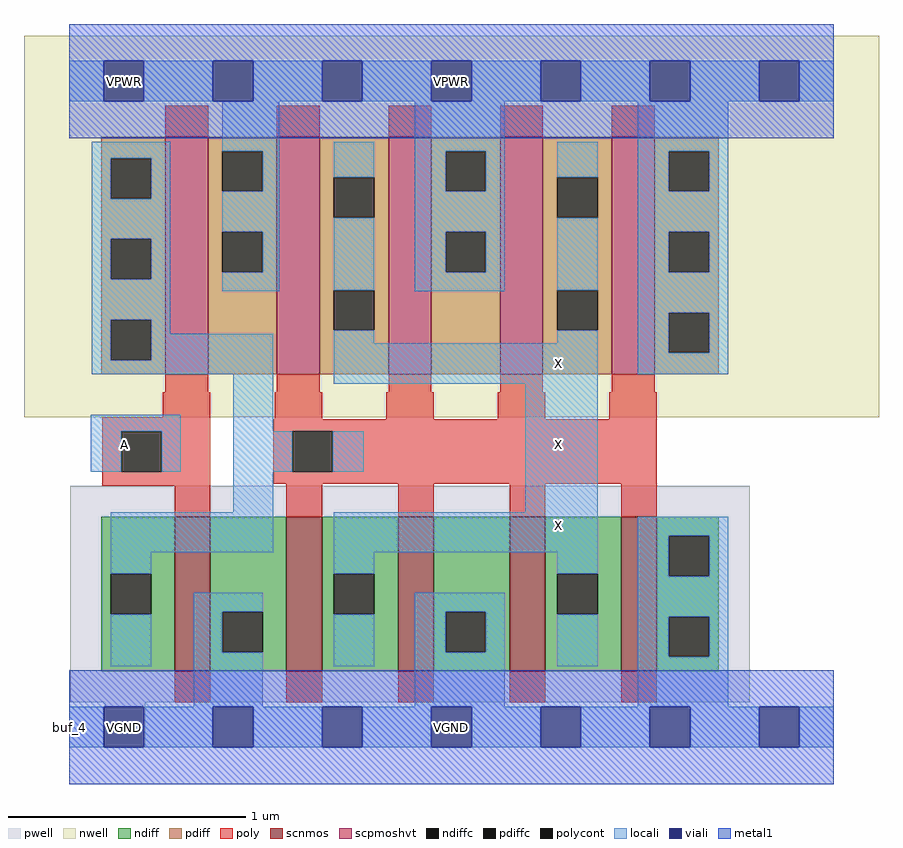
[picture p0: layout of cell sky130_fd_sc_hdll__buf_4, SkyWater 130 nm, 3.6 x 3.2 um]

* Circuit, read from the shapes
.subckt sky130_fd_sc_hdll__buf_4 A VGND VNB VPB VPWR X
XM1 VGND A n1 VNB sky130_fd_pr__nfet_01v8 w=0.65 l=0.15
XM2 X n1 VGND VNB sky130_fd_pr__nfet_01v8 w=0.65 l=0.15 m=4
XM3 VPWR A n1 VPB sky130_fd_pr__pfet_01v8_hvt w=1 l=0.18
XM4 X n1 VPWR VPB sky130_fd_pr__pfet_01v8_hvt w=1 l=0.18 m=4
.ends

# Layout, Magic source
magic
tech sky130A
magscale 1 2
<< nwell >>
rect -38 261 682 582
<< pwell >>
rect 1 21 573 203
rect 30 -17 64 21
<< scnmos >>
rect 89 47 119 177
rect 183 47 213 177
rect 277 47 307 177
rect 371 47 401 177
rect 465 47 495 177
<< scpmoshvt >>
rect 81 297 117 497
rect 175 297 211 497
rect 269 297 305 497
rect 363 297 399 497
rect 457 297 493 497
<< ndiff >>
rect 27 129 89 177
rect 27 95 35 129
rect 69 95 89 129
rect 27 47 89 95
rect 119 97 183 177
rect 119 63 129 97
rect 163 63 183 97
rect 119 47 183 63
rect 213 129 277 177
rect 213 95 223 129
rect 257 95 277 129
rect 213 47 277 95
rect 307 97 371 177
rect 307 63 317 97
rect 351 63 371 97
rect 307 47 371 63
rect 401 129 465 177
rect 401 95 411 129
rect 445 95 465 129
rect 401 47 465 95
rect 495 161 547 177
rect 495 127 505 161
rect 539 127 547 161
rect 495 93 547 127
rect 495 59 505 93
rect 539 59 547 93
rect 495 47 547 59
<< pdiff >>
rect 27 479 81 497
rect 27 445 35 479
rect 69 445 81 479
rect 27 411 81 445
rect 27 377 35 411
rect 69 377 81 411
rect 27 343 81 377
rect 27 309 35 343
rect 69 309 81 343
rect 27 297 81 309
rect 117 485 175 497
rect 117 451 129 485
rect 163 451 175 485
rect 117 417 175 451
rect 117 383 129 417
rect 163 383 175 417
rect 117 297 175 383
rect 211 463 269 497
rect 211 429 223 463
rect 257 429 269 463
rect 211 368 269 429
rect 211 334 223 368
rect 257 334 269 368
rect 211 297 269 334
rect 305 485 363 497
rect 305 451 317 485
rect 351 451 363 485
rect 305 417 363 451
rect 305 383 317 417
rect 351 383 363 417
rect 305 297 363 383
rect 399 463 457 497
rect 399 429 411 463
rect 445 429 457 463
rect 399 368 457 429
rect 399 334 411 368
rect 445 334 457 368
rect 399 297 457 334
rect 493 485 547 497
rect 493 451 505 485
rect 539 451 547 485
rect 493 417 547 451
rect 493 383 505 417
rect 539 383 547 417
rect 493 349 547 383
rect 493 315 505 349
rect 539 315 547 349
rect 493 297 547 315
<< ndiffc >>
rect 35 95 69 129
rect 129 63 163 97
rect 223 95 257 129
rect 317 63 351 97
rect 411 95 445 129
rect 505 127 539 161
rect 505 59 539 93
<< pdiffc >>
rect 35 445 69 479
rect 35 377 69 411
rect 35 309 69 343
rect 129 451 163 485
rect 129 383 163 417
rect 223 429 257 463
rect 223 334 257 368
rect 317 451 351 485
rect 317 383 351 417
rect 411 429 445 463
rect 411 334 445 368
rect 505 451 539 485
rect 505 383 539 417
rect 505 315 539 349
<< poly >>
rect 81 497 117 523
rect 175 497 211 523
rect 269 497 305 523
rect 363 497 399 523
rect 457 497 493 523
rect 81 282 117 297
rect 175 282 211 297
rect 269 282 305 297
rect 363 282 399 297
rect 457 282 493 297
rect 79 261 119 282
rect 28 249 119 261
rect 173 259 213 282
rect 267 259 307 282
rect 361 259 401 282
rect 455 259 495 282
rect 28 215 44 249
rect 78 215 119 249
rect 28 203 119 215
rect 172 249 495 259
rect 172 215 188 249
rect 222 215 495 249
rect 172 205 495 215
rect 89 177 119 203
rect 183 177 213 205
rect 277 177 307 205
rect 371 177 401 205
rect 465 177 495 205
rect 89 21 119 47
rect 183 21 213 47
rect 277 21 307 47
rect 371 21 401 47
rect 465 21 495 47
<< polycont >>
rect 44 215 78 249
rect 188 215 222 249
<< locali >>
rect 0 527 29 561
rect 63 527 121 561
rect 155 527 213 561
rect 247 527 305 561
rect 339 527 397 561
rect 431 527 489 561
rect 523 527 581 561
rect 615 527 644 561
rect 19 479 85 493
rect 19 445 35 479
rect 69 445 85 479
rect 19 411 85 445
rect 19 377 35 411
rect 69 377 85 411
rect 19 343 85 377
rect 129 485 177 527
rect 163 451 177 485
rect 129 417 177 451
rect 163 383 177 417
rect 129 367 177 383
rect 223 463 257 493
rect 223 368 257 429
rect 19 309 35 343
rect 69 331 85 343
rect 291 485 367 527
rect 291 451 317 485
rect 351 451 367 485
rect 291 417 367 451
rect 291 383 317 417
rect 351 383 367 417
rect 291 367 367 383
rect 411 463 445 493
rect 411 368 445 429
rect 69 309 172 331
rect 19 297 172 309
rect 18 249 94 263
rect 18 215 44 249
rect 78 215 94 249
rect 138 249 172 297
rect 223 323 257 334
rect 411 323 445 334
rect 223 289 445 323
rect 479 485 555 527
rect 479 451 505 485
rect 539 451 555 485
rect 479 417 555 451
rect 479 383 505 417
rect 539 383 555 417
rect 479 349 555 383
rect 479 315 505 349
rect 539 315 555 349
rect 479 297 555 315
rect 138 215 188 249
rect 222 215 248 249
rect 138 181 172 215
rect 384 181 445 289
rect 35 147 172 181
rect 223 147 445 181
rect 35 129 69 147
rect 223 129 257 147
rect 35 51 69 95
rect 105 97 163 113
rect 105 63 129 97
rect 105 17 163 63
rect 411 129 445 147
rect 223 51 257 95
rect 291 97 367 113
rect 291 63 317 97
rect 351 63 367 97
rect 291 17 367 63
rect 411 51 445 95
rect 479 161 555 177
rect 479 127 505 161
rect 539 127 555 161
rect 479 93 555 127
rect 479 59 505 93
rect 539 59 555 93
rect 479 17 555 59
rect 0 -17 29 17
rect 63 -17 121 17
rect 155 -17 213 17
rect 247 -17 305 17
rect 339 -17 397 17
rect 431 -17 489 17
rect 523 -17 581 17
rect 615 -17 644 17
<< viali >>
rect 29 527 63 561
rect 121 527 155 561
rect 213 527 247 561
rect 305 527 339 561
rect 397 527 431 561
rect 489 527 523 561
rect 581 527 615 561
rect 29 -17 63 17
rect 121 -17 155 17
rect 213 -17 247 17
rect 305 -17 339 17
rect 397 -17 431 17
rect 489 -17 523 17
rect 581 -17 615 17
<< metal1 >>
rect 0 561 644 592
rect 0 527 29 561
rect 63 527 121 561
rect 155 527 213 561
rect 247 527 305 561
rect 339 527 397 561
rect 431 527 489 561
rect 523 527 581 561
rect 615 527 644 561
rect 0 496 644 527
rect 0 17 644 48
rect 0 -17 29 17
rect 63 -17 121 17
rect 155 -17 213 17
rect 247 -17 305 17
rect 339 -17 397 17
rect 431 -17 489 17
rect 523 -17 581 17
rect 615 -17 644 17
rect 0 -48 644 -17
<< labels >>
flabel metal1 s 30 527 64 561 0 FreeSans 200 0 0 0 VPWR
port 5 nsew power bidirectional
flabel metal1 s 30 -17 64 17 0 FreeSans 200 0 0 0 VGND
port 2 nsew ground bidirectional
flabel locali s 395 221 429 255 0 FreeSans 200 0 0 0 X
port 6 nsew signal output
flabel locali s 395 289 429 323 0 FreeSans 200 0 0 0 X
port 6 nsew signal output
flabel locali s 395 153 429 187 0 FreeSans 200 0 0 0 X
port 6 nsew signal output
flabel locali s 30 527 64 561 0 FreeSans 200 0 0 0 VPWR
port 5 nsew power bidirectional
flabel locali s 30 -17 64 17 0 FreeSans 200 0 0 0 VGND
port 2 nsew ground bidirectional
flabel locali s 30 221 64 255 0 FreeSans 200 0 0 0 A
port 1 nsew signal input
flabel nwell s 30 527 64 561 0 FreeSans 200 0 0 0 VPB
port 4 nsew power bidirectional
flabel pwell s 30 -17 64 17 0 FreeSans 200 0 0 0 VNB
port 3 nsew ground bidirectional
rlabel comment s 0 0 0 0 4 buf_4
rlabel metal1 s 0 -48 644 48 1 VGND
port 2 nsew ground bidirectional
rlabel metal1 s 0 496 644 592 1 VPWR
port 5 nsew power bidirectional
<< properties >>
string LEFsite unithd
string LEFclass CORE
string FIXED_BBOX 0 0 644 544
string GDS_FILE $PDKPATH/libs.ref/sky130_fd_sc_hdll/gds/sky130_fd_sc_hdll.gds
string LEFsymmetry X Y R90
string GDS_END 1941050
string GDS_START 1935382
string LEFproperties maskLayoutSubType "abstract" prCellType "standard" originalViewName "layout"
<< end >>
